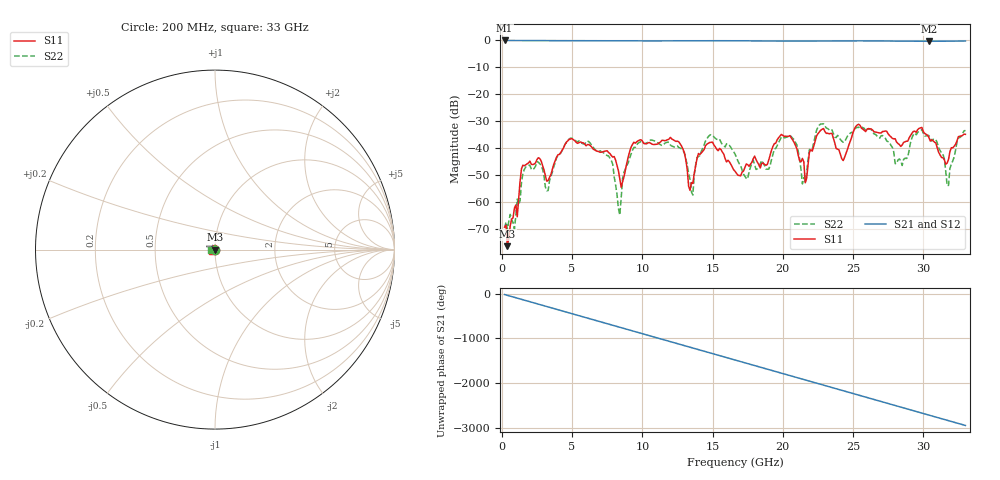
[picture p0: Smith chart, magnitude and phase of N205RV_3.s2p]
# GHZ S RI R 50
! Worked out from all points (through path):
!   329 points, 200 MHz to 33 GHz, reference 50 ohm
!   highest |S21| = -0.02 dB at 200 MHz (marker M1); lowest = -0.3 dB at 30.4 GHz (marker M2)
!   group delay of S21, straight-line fit = 248 ps
!   lowest |S11| = -76.6 dB at 400 MHz (marker M3), VSWR 1.00, Z = 50 + j0.00937 ohm
!   |S11| at or under -10 dB: start of sweep to end of sweep
!   |S22| runs from -70.2 to -31.1 dB; largest |S21 - S12| = 0.0019
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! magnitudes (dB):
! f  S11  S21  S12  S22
! 200 MHz  -69.5  0.0  0.0  -69.8
! 400 MHz  -76.6  0.0  0.0  -70.2
! 1.5 GHz  -46.4  -0.1  -0.1  -49.6
! 3.3 GHz  -52.1  -0.1  -0.1  -55.8
! 5.7 GHz  -38.0  -0.1  -0.1  -38.3
! 7.8 GHz  -42.9  -0.1  -0.1  -44.7
! 8.4 GHz  -51.6  -0.1  -0.1  -65.0
! 9.4 GHz  -37.9  -0.1  -0.1  -39.8
! 11.2 GHz  -38.2  -0.2  -0.2  -38.6
! 12.9 GHz  -40.5  -0.2  -0.2  -40.9
! 13.6 GHz  -53.3  -0.2  -0.2  -57.5
! 14.8 GHz  -38.0  -0.1  -0.1  -35.3
! 16.6 GHz  -48.7  -0.1  -0.1  -42.2
! 17.5 GHz  -46.2  -0.2  -0.2  -51.6
! 20.5 GHz  -35.4  -0.3  -0.3  -35.2
! 21.4 GHz  -43.9  -0.2  -0.2  -53.4
! 21.6 GHz  -53.0  -0.2  -0.2  -52.5
! 22.1 GHz  -41.2  -0.2  -0.2  -40.5
! 27.6 GHz  -35.4  -0.2  -0.2  -38.0
! 30.4 GHz  -36.0  -0.3  -0.3  -35.4
! 31.7 GHz  -45.6  -0.3  -0.3  -54.1
! 33 GHz  -35.0  -0.2  -0.2  -33.5
